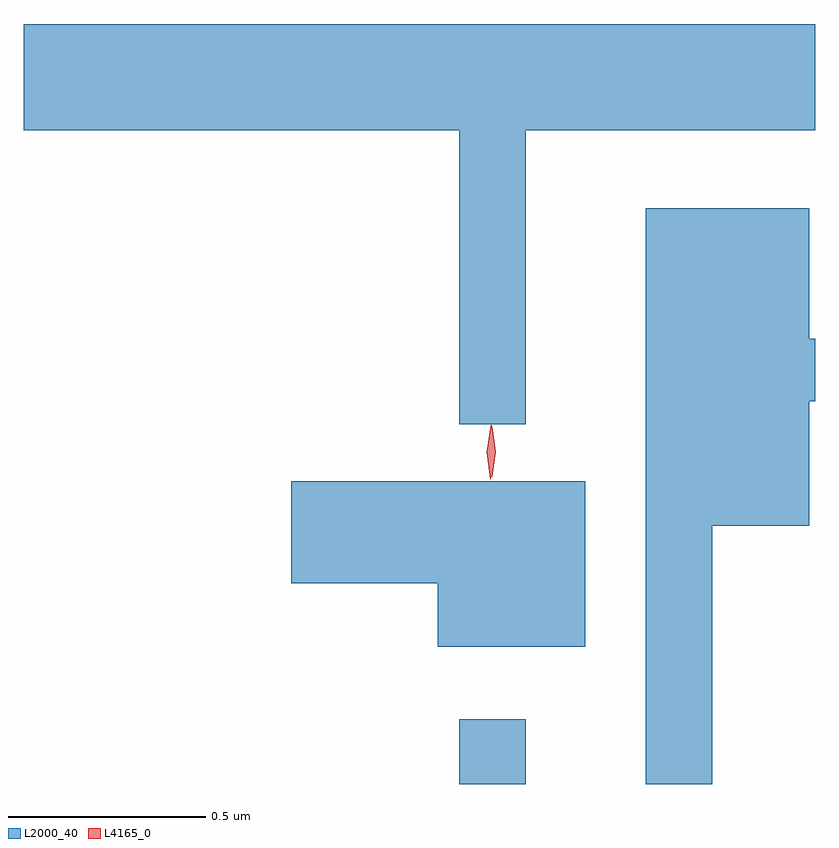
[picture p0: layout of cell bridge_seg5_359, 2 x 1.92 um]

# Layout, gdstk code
import gdstk
lib = gdstk.Library(unit=1e-6, precision=1e-09)
def R(c, l, rs):  # rectangles x0, y0, x1, y1
    for r in rs: c.add(gdstk.rectangle(r[:2], r[2:], *l))
def P(c, l, *ps):  # polygons
    for p in ps: c.add(gdstk.Polygon(p, *l))
L2000_40 = (2000, 40)
L4165_0 = (4165, 0)

bridge_seg5_359 = lib.new_cell('bridge_seg5_359')
R(bridge_seg5_359, L2000_40, [(668.971,1419.624,669.139,1419.788)])
P(bridge_seg5_359, L2000_40, [(669.139,1421.276),(669.87,1421.276),(669.87,1421.544),(667.87,1421.544),(667.87,1421.276),(668.971,1421.276),(668.971,1420.533),(669.139,1420.533)],
  [(669.609,1420.276),(669.854,1420.276),(669.854,1420.591),(669.87,1420.591),(669.87,1420.749),(669.854,1420.749),(669.854,1421.079),(669.441,1421.079),(669.441,1419.624),(669.609,1419.624)],
  [(669.289,1420.389),(668.546,1420.389),(668.546,1420.131),(668.916,1420.131),(668.916,1419.971),(669.289,1419.971)])
P(bridge_seg5_359, L4165_0, [(669.053,1420.4),(669.053,1420.4),(669.043,1420.464),(669.053,1420.526),(669.053,1420.527),(669.054,1420.526),(669.063,1420.464),(669.054,1420.4)],
  [(669.049,1420.394),(669.049,1420.394),(669.04,1420.462),(669.05,1420.53),(669.051,1420.53),(669.052,1420.53),(669.06,1420.462),(669.05,1420.394)])

lib.write_gds('bridge_seg5_359.gds')
